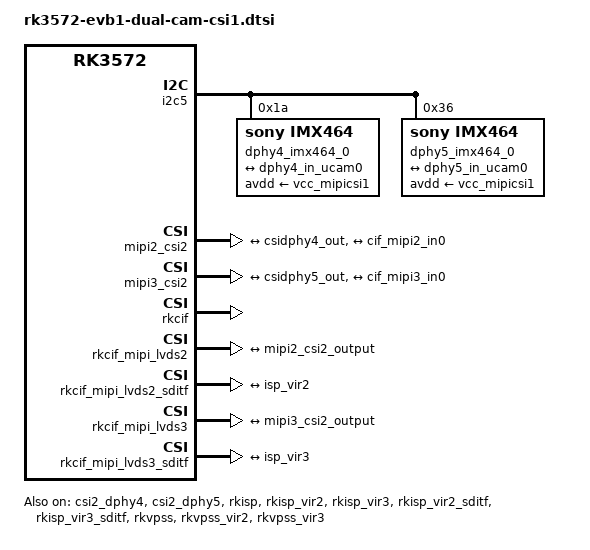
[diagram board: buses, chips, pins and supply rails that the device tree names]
// SPDX-License-Identifier: (GPL-2.0+ OR MIT)
/*
 * Copyright (c) 2026 Rockchip Electronics Co., Ltd.
 *
 */

&csi2_dphy4 {
	status = "okay";

	ports {
		#address-cells = <1>;
		#size-cells = <0>;
		port@0 {
			reg = <0>;
			#address-cells = <1>;
			#size-cells = <0>;

			dphy4_in_ucam0: endpoint@1 {
				reg = <1>;
				remote-endpoint = <&dphy4_imx464_out0>;
				data-lanes = <1 2>;
			};
		};
		port@1 {
			reg = <1>;
			#address-cells = <1>;
			#size-cells = <0>;

			csidphy4_out: endpoint@0 {
				reg = <0>;
				remote-endpoint = <&mipi2_csi2_input>;
			};
		};
	};
};

&csi2_dphy5 {
	status = "okay";

	ports {
		#address-cells = <1>;
		#size-cells = <0>;
		port@0 {
			reg = <0>;
			#address-cells = <1>;
			#size-cells = <0>;

			dphy5_in_ucam0: endpoint@3 {
				reg = <3>;
				remote-endpoint = <&dphy5_imx464_out0>;
				data-lanes = <1 2>;
			};

		};
		port@1 {
			reg = <1>;
			#address-cells = <1>;
			#size-cells = <0>;

			csidphy5_out: endpoint@0 {
				reg = <0>;
				remote-endpoint = <&mipi3_csi2_input>;
			};
		};
	};
};

&i2c5 {
	status = "okay";
	pinctrl-0 = <&i2c5m3_xfer_pins>, <&cam_clk2m0_clk2_pins>;
	pinctrl-names = "default";

	dphy4_imx464_0: dphy4-imx464-0@1a {
		compatible = "sony,imx464";
		status = "okay";
		reg = <0x1a>;
		clocks = <&cru CAM_CLK2_OUT_IOUT>;
		clock-names = "xvclk";
		power-domains = <&power RK3572_PD_VI>;
		/* reset need connect to dovdd */
		avdd-supply = <&vcc_mipicsi1>;
		rockchip,camera-module-index = <2>;
		rockchip,camera-module-facing = "back";
		rockchip,camera-module-name = "CMK-OT1980-PX1";
		rockchip,camera-module-lens-name = "SHG102";
		port {
			dphy4_imx464_out0: endpoint {
				remote-endpoint = <&dphy4_in_ucam0>;
				data-lanes = <1 2>;
			};
		};
	};

	dphy5_imx464_0: dphy5-imx464-0@36 {
		compatible = "sony,imx464";
		status = "okay";
		reg = <0x36>;
		clocks = <&cru CAM_CLK2_OUT_IOUT>;
		clock-names = "xvclk";
		power-domains = <&power RK3572_PD_VI>;
		/* reset need connect to dovdd */
		avdd-supply = <&vcc_mipicsi1>;
		rockchip,camera-module-index = <3>;
		rockchip,camera-module-facing = "back";
		rockchip,camera-module-name = "CMK-OT1980-PX1";
		rockchip,camera-module-lens-name = "SHG102";
		port {
			dphy5_imx464_out0: endpoint {
				remote-endpoint = <&dphy5_in_ucam0>;
				data-lanes = <1 2>;
			};
		};
	};
};

&mipi2_csi2 {
	status = "okay";

	ports {
		#address-cells = <1>;
		#size-cells = <0>;

		port@0 {
			reg = <0>;
			#address-cells = <1>;
			#size-cells = <0>;

			mipi2_csi2_input: endpoint@1 {
				reg = <1>;
				remote-endpoint = <&csidphy4_out>;
			};
		};

		port@1 {
			reg = <1>;
			#address-cells = <1>;
			#size-cells = <0>;

			mipi2_csi2_output: endpoint@0 {
				reg = <0>;
				remote-endpoint = <&cif_mipi2_in0>;
			};
		};
	};
};

&mipi3_csi2 {
	status = "okay";

	ports {
		#address-cells = <1>;
		#size-cells = <0>;

		port@0 {
			reg = <0>;
			#address-cells = <1>;
			#size-cells = <0>;

			mipi3_csi2_input: endpoint@1 {
				reg = <1>;
				remote-endpoint = <&csidphy5_out>;
			};
		};

		port@1 {
			reg = <1>;
			#address-cells = <1>;
			#size-cells = <0>;

			mipi3_csi2_output: endpoint@0 {
				reg = <0>;
				remote-endpoint = <&cif_mipi3_in0>;
			};
		};
	};
};

&rkcif {
	status = "okay";
};

&rkcif_mipi_lvds2 {
	status = "okay";

	port {
		cif_mipi2_in0: endpoint {
			remote-endpoint = <&mipi2_csi2_output>;
		};
	};
};

&rkcif_mipi_lvds2_sditf {
	status = "okay";

	port {
		mipi2_lvds_sditf: endpoint {
			remote-endpoint = <&isp_vir2>;
		};
	};
};

&rkcif_mipi_lvds3 {
	status = "okay";

	port {
		cif_mipi3_in0: endpoint {
			remote-endpoint = <&mipi3_csi2_output>;
		};
	};
};

&rkcif_mipi_lvds3_sditf {
	status = "okay";

	port {
		mipi3_lvds_sditf: endpoint {
			remote-endpoint = <&isp_vir3>;
		};
	};
};

&rkcif_mmu {
	status = "okay";
};

&rkisp {
	status = "okay";
};

&rkisp_mmu {
	status = "okay";
};

&rkisp_vir2 {
	status = "okay";

	port {
		#address-cells = <1>;
		#size-cells = <0>;

		isp_vir2: endpoint@0 {
			reg = <0>;
			remote-endpoint = <&mipi2_lvds_sditf>;
		};
	};
};

&rkisp_vir3 {
	status = "okay";

	port {
		#address-cells = <1>;
		#size-cells = <0>;

		isp_vir3: endpoint@0 {
			reg = <0>;
			remote-endpoint = <&mipi3_lvds_sditf>;
		};
	};
};

&rkisp_vir2_sditf {
	status = "okay";
};

&rkisp_vir3_sditf {
	status = "okay";
};

&rkvpss {
	status = "okay";
};

&rkvpss_mmu {
	status = "okay";
};

&rkvpss_vir2 {
	status = "okay";
};

&rkvpss_vir3 {
	status = "okay";
};
